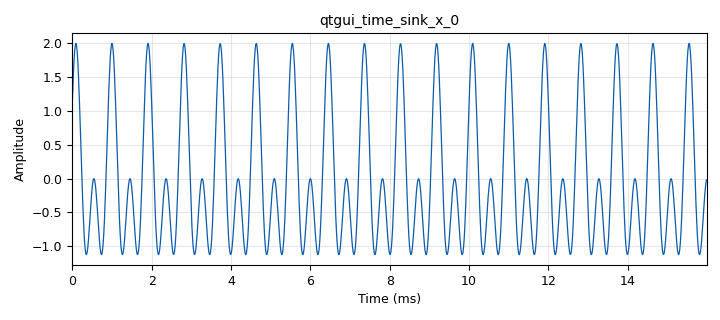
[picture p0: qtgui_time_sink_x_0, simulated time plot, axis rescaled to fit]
options:
  parameters:
    author: aditya
    generate_options: qt_gui
    id: test0
    output_language: python
    title: Not titled yet
  states: {}

blocks:
- name: samp_rate
  id: variable
  parameters:
    value: '64000'
  states: {}
- name: analog_sig_source_x_0
  id: analog_sig_source_x
  parameters:
    amp: '1'
    freq: '1100'
    offset: '0'
    phase: '0'
    samp_rate: samp_rate
    type: float
    waveform: analog.GR_COS_WAVE
  states: {}
- name: analog_sig_source_x_0_0
  id: analog_sig_source_x
  parameters:
    amp: '1'
    freq: '2200'
    offset: '0'
    phase: '0'
    samp_rate: samp_rate
    type: float
    waveform: analog.GR_COS_WAVE
  states: {}
- name: blocks_add_xx_0
  id: blocks_add_xx
  parameters:
    type: float
  states: {}
- name: blocks_throttle_0
  id: blocks_throttle
  parameters:
    samples_per_second: samp_rate
    type: float
  states: {}
- name: qtgui_time_sink_x_0
  id: qtgui_time_sink_x
  parameters:
    size: '1024'
    srate: samp_rate
    type: float
  states: {}

connections:
- [analog_sig_source_x_0, '0', blocks_add_xx_0, '0']
- [analog_sig_source_x_0_0, '0', blocks_add_xx_0, '1']
- [blocks_add_xx_0, '0', blocks_throttle_0, '0']
- [blocks_throttle_0, '0', qtgui_time_sink_x_0, '0']

metadata:
  file_format: 1
